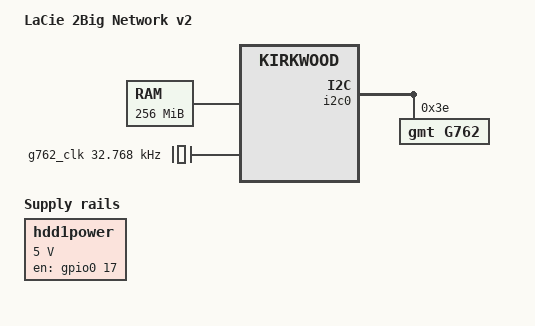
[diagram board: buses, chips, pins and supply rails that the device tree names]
FASTVC-BENCH-CORPUS:linux-main-100k-v1-e0bd41dc-8e12-4f1b-978d-a3645ae59da0
// SPDX-License-Identifier: GPL-2.0
/*
 * Device Tree file for LaCie 2Big Network v2
 *
 * Copyright (C) 2014
 *
 * Andrew Lunn <andrew@lunn.ch>
 *
 * Based on netxbig_v2-setup.c,
 * Copyright (C) 2010 Simon Guinot <sguinot@lacie.com>
 *
*/

/dts-v1/;

#include "kirkwood.dtsi"
#include "kirkwood-6281.dtsi"
#include "kirkwood-netxbig.dtsi"

/ {
	model = "LaCie 2Big Network v2";
	compatible = "lacie,net2big_v2", "lacie,netxbig", "marvell,kirkwood-88f6281", "marvell,kirkwood";

	memory {
		device_type = "memory";
		reg = <0x00000000 0x10000000>;
	};

/* bench 1449.1.0 cc0a807d5625 */
/* bench 1449.1.1 ea4a19cf6119 */
/* bench 1449.1.2 e9158f6f8e5e */
/* bench 3733.0.0 a4781f85c47f */
/* bench 3733.0.1 3b00fc2f7cb7 */
/* bench 3733.0.2 37eb10d708e6 */
/* bench 3733.0.3 8a50558a6b4d */
/* bench 3733.0.4 b4b84459aca5 */
/* bench 3733.0.5 d8e23de48f4c */
/* bench 3733.0.6 ee441c4494fd */
/* bench 3733.0.7 62fabd738274 */
/* bench 3733.0.8 7ec6294e26b6 */
/* bench 3733.0.9 9e0a1017d4c6 */
/* bench 1449.1.3 f8377d325199 */
/* bench 1449.1.4 d037f0585b3a */
	};
};

&regulators {
	regulator@2 {
		compatible = "regulator-fixed";
		reg = <2>;
		regulator-name = "hdd1power";
		regulator-min-microvolt = <5000000>;
		regulator-max-microvolt = <5000000>;
		enable-active-high;
		regulator-always-on;
		regulator-boot-on;
		gpio = <&gpio0 17 GPIO_ACTIVE_HIGH>;
	};

	clocks {
	       g762_clk: g762-oscillator {
			 compatible = "fixed-clock";
			 #clock-cells = <0>;
			 clock-frequency = <32768>;
	       };
	};
};

&i2c0 {
	g762@3e {
		compatible = "gmt,g762";
		reg = <0x3e>;
		clocks = <&g762_clk>;
	};
};
